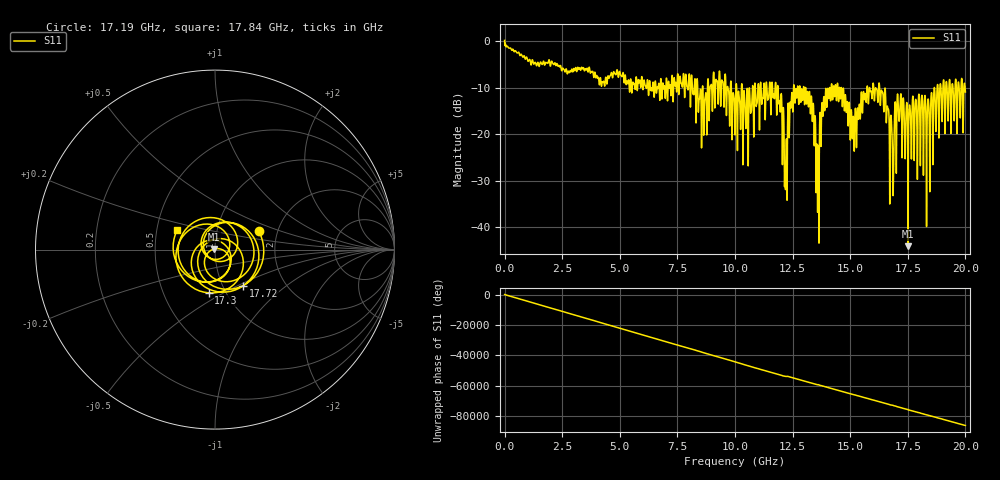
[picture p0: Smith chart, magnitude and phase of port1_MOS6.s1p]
! MS46122B
! 2250307/22442219
! 6/13/2025 8:42:40 AM
! C:\USERS\SPARKY\DOCUMENTS\VNA_DATA\JUNE13_2025\PORT1_MOS6.S1P
! CHANNEL.1
! TR.MEASUREMENT
! RAW.DATA
# GHZ S RI R 50.0
! FREQ.GHZ  S11RE  S11IM
!; PortSelection: Port_1
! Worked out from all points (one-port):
!   10001 points, 1 MHz to 20 GHz, reference 50 ohm
!   lowest |S11| = -44.1 dB at 17.51 GHz (marker M1), VSWR 1.01, Z = 49.5 + j0.346 ohm
!   |S11| at or under -10 dB: 13.07 GHz to 14.1 GHz (1.033 GHz wide, 7.6 % of centre); 14.62 GHz to 15.73 GHz (1.109 GHz wide, 7.31 % of centre); 16.28 GHz to 18.65 GHz (2.371 GHz wide, 13.6 % of centre) (the widest 3 of 78)
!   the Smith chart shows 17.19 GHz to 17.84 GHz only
!   S11 on the Smith chart (normalised r, x): 17.19 GHz: 1.60, +0.35; 17.3 GHz: 0.83, -0.43; 17.72 GHz: 1.25, -0.54; 17.84 GHz: 0.64, +0.15
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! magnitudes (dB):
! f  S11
! 1 MHz  0.2
! 2.501 GHz  -6.0
! 5.001 GHz  -6.5
! 7.501 GHz  -7.5
! 8.619 GHz  -12.2
! 9.255 GHz  -10.9
! 10 GHz  -19.1
! 11.69 GHz  -11.4
! 11.94 GHz  -13.0
! 12.2 GHz  -31.1
! 12.5 GHz  -14.4
! 13.24 GHz  -10.9
! 13.58 GHz  -30.7
! 13.77 GHz  -13.4
! 14.02 GHz  -10.3
! 14.62 GHz  -10.1
! 15 GHz  -20.6
! 16.33 GHz  -12.3
! 16.59 GHz  -15.5
! 16.8 GHz  -18.5
! 17.01 GHz  -24.1
! 17.19 GHz  -11.6
! 17.3 GHz  -12.3
! 17.5 GHz  -21.2
! 17.51 GHz  -44.1
! 17.72 GHz  -11.8
! 17.84 GHz  -12.5
! 20 GHz  -10.9
